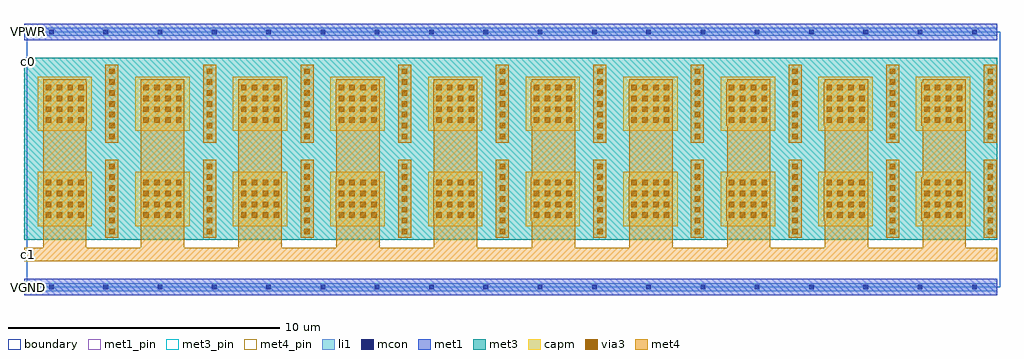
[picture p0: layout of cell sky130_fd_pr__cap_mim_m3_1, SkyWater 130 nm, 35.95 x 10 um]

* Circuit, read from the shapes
.subckt sky130_fd_pr__cap_mim_m3_1 VGND VPWR c0 c1
XC1 c1 c0 sky130_fd_pr__cap_mim_m3_1 w=2 l=2 m=20
.ends

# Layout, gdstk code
import gdstk
lib = gdstk.Library(unit=1e-6, precision=1e-09)
def R(c, l, rs):  # rectangles x0, y0, x1, y1
    for r in rs: c.add(gdstk.rectangle(r[:2], r[2:], *l))
def A(c, l, x, y, w, h, nx, ny, dx, dy):  # array of equal rectangles
    R(c, l, [(x+i*dx, y+j*dy, x+i*dx+w, y+j*dy+h) for i in range(nx) for j in range(ny)])
li1 = (67, 20)
mcon = (67, 44)
met1_pin = (68, 16)
met1 = (68, 20)
met3_pin = (70, 16)
met3 = (70, 20)
via3 = (70, 44)
met4_pin = (71, 16)
met4 = (71, 20)
capm = (89, 44)
boundary = (235, 4)

sky130_fd_pr__cap_mim_m3 = lib.new_cell('sky130_fd_pr__cap_mim_m3_1')
R(sky130_fd_pr__cap_mim_m3, li1, [(-0.09,-0.15,35.75,0.15), (-0.09,9.25,35.75,9.55)])
A(sky130_fd_pr__cap_mim_m3, mcon, 0.825, -0.085, 0.17, 0.17, 18, 2, 2, 9.4)
R(sky130_fd_pr__cap_mim_m3, met1_pin, [(-0.09,-0.15,0.21,0.15), (-0.09,9.25,0.21,9.55)])
R(sky130_fd_pr__cap_mim_m3, met1, [(-0.09,-0.3,35.75,0.3), (-0.09,9.1,35.75,9.7)])
R(sky130_fd_pr__cap_mim_m3, met3_pin, [(-0.1,8.15,0.2,8.45)])
R(sky130_fd_pr__cap_mim_m3, met3, [(-0.1,1.75,35.755,4.75), (-0.1,4.75,35.75,5.25), (-0.1,5.25,35.755,8.25), (-0.1,8.25,35.75,8.45)])
A(sky130_fd_pr__cap_mim_m3, via3, 3.04, 1.95, 0.2, 0.2, 10, 7, 3.595, 0.4)
A(sky130_fd_pr__cap_mim_m3, via3, 0.705, 2.55, 0.2, 0.2, 4, 4, 0.4, 0.4)
A(sky130_fd_pr__cap_mim_m3, via3, 4.3, 2.55, 0.2, 0.2, 4, 4, 0.4, 0.4)
A(sky130_fd_pr__cap_mim_m3, via3, 7.895, 2.55, 0.2, 0.2, 4, 4, 0.4, 0.4)
A(sky130_fd_pr__cap_mim_m3, via3, 11.49, 2.55, 0.2, 0.2, 4, 4, 0.4, 0.4)
A(sky130_fd_pr__cap_mim_m3, via3, 15.085, 2.55, 0.2, 0.2, 4, 4, 0.4, 0.4)
A(sky130_fd_pr__cap_mim_m3, via3, 18.68, 2.55, 0.2, 0.2, 4, 4, 0.4, 0.4)
A(sky130_fd_pr__cap_mim_m3, via3, 22.275, 2.55, 0.2, 0.2, 4, 4, 0.4, 0.4)
A(sky130_fd_pr__cap_mim_m3, via3, 25.87, 2.55, 0.2, 0.2, 4, 4, 0.4, 0.4)
A(sky130_fd_pr__cap_mim_m3, via3, 29.465, 2.55, 0.2, 0.2, 4, 4, 0.4, 0.4)
A(sky130_fd_pr__cap_mim_m3, via3, 33.06, 2.55, 0.2, 0.2, 4, 4, 0.4, 0.4)
A(sky130_fd_pr__cap_mim_m3, via3, 3.04, 5.45, 0.2, 0.2, 10, 7, 3.595, 0.4)
A(sky130_fd_pr__cap_mim_m3, via3, 0.705, 6.05, 0.2, 0.2, 4, 4, 0.4, 0.4)
A(sky130_fd_pr__cap_mim_m3, via3, 4.3, 6.05, 0.2, 0.2, 4, 4, 0.4, 0.4)
A(sky130_fd_pr__cap_mim_m3, via3, 7.895, 6.05, 0.2, 0.2, 4, 4, 0.4, 0.4)
A(sky130_fd_pr__cap_mim_m3, via3, 11.49, 6.05, 0.2, 0.2, 4, 4, 0.4, 0.4)
A(sky130_fd_pr__cap_mim_m3, via3, 15.085, 6.05, 0.2, 0.2, 4, 4, 0.4, 0.4)
A(sky130_fd_pr__cap_mim_m3, via3, 18.68, 6.05, 0.2, 0.2, 4, 4, 0.4, 0.4)
A(sky130_fd_pr__cap_mim_m3, via3, 22.275, 6.05, 0.2, 0.2, 4, 4, 0.4, 0.4)
A(sky130_fd_pr__cap_mim_m3, via3, 25.87, 6.05, 0.2, 0.2, 4, 4, 0.4, 0.4)
A(sky130_fd_pr__cap_mim_m3, via3, 29.465, 6.05, 0.2, 0.2, 4, 4, 0.4, 0.4)
A(sky130_fd_pr__cap_mim_m3, via3, 33.06, 6.05, 0.2, 0.2, 4, 4, 0.4, 0.4)
R(sky130_fd_pr__cap_mim_m3, met4_pin, [(-0.09,1.05,0.21,1.35)])
A(sky130_fd_pr__cap_mim_m3, met4, 0.6, 1.45, 1.6, 0.995, 10, 1, 3.6, 0)
A(sky130_fd_pr__cap_mim_m3, met4, 2.9, 1.81, 0.48, 2.88, 10, 2, 3.595, 3.5)
A(sky130_fd_pr__cap_mim_m3, met4, 0.6, 2.445, 1.61, 1.61, 3, 2, 3.595, 3.5)
A(sky130_fd_pr__cap_mim_m3, met4, 0.6, 4.055, 1.6, 1.89, 10, 1, 3.6, 0)
A(sky130_fd_pr__cap_mim_m3, met4, 0.6, 7.555, 1.6, 0.095, 10, 1, 3.6, 0)
R(sky130_fd_pr__cap_mim_m3, met4, [(-0.09,0.95,35.75,1.45), (11.385,2.445,13,4.055), (14.98,2.445,16.6,4.055), (18.575,2.445,20.2,4.055), (22.17,2.445,23.8,4.055), (25.765,2.445,27.4,4.055), (29.36,2.445,31,4.055), (32.955,2.445,34.6,4.055), (11.385,5.945,13,7.555), (14.98,5.945,16.6,7.555), (18.575,5.945,20.2,7.555), (22.17,5.945,23.8,7.555), (25.765,5.945,27.4,7.555), (29.36,5.945,31,7.555), (32.955,5.945,34.6,7.555)])
A(sky130_fd_pr__cap_mim_m3, capm, 0.405, 2.25, 2, 2, 10, 2, 3.595, 3.5)
R(sky130_fd_pr__cap_mim_m3, boundary, [(0,0,35.855,9.4)])
sky130_fd_pr__cap_mim_m3.add(gdstk.Label('c0', (0.05,8.3), layer=70, texttype=16))
sky130_fd_pr__cap_mim_m3.add(gdstk.Label('c1', (0.06,1.2), layer=71, texttype=16))
sky130_fd_pr__cap_mim_m3.add(gdstk.Label('VPWR', (0.06,9.4), layer=68, texttype=16))
sky130_fd_pr__cap_mim_m3.add(gdstk.Label('VGND', (0.06,0), layer=68, texttype=16))

lib.write_gds('sky130_fd_pr__cap_mim_m3_1.gds')
